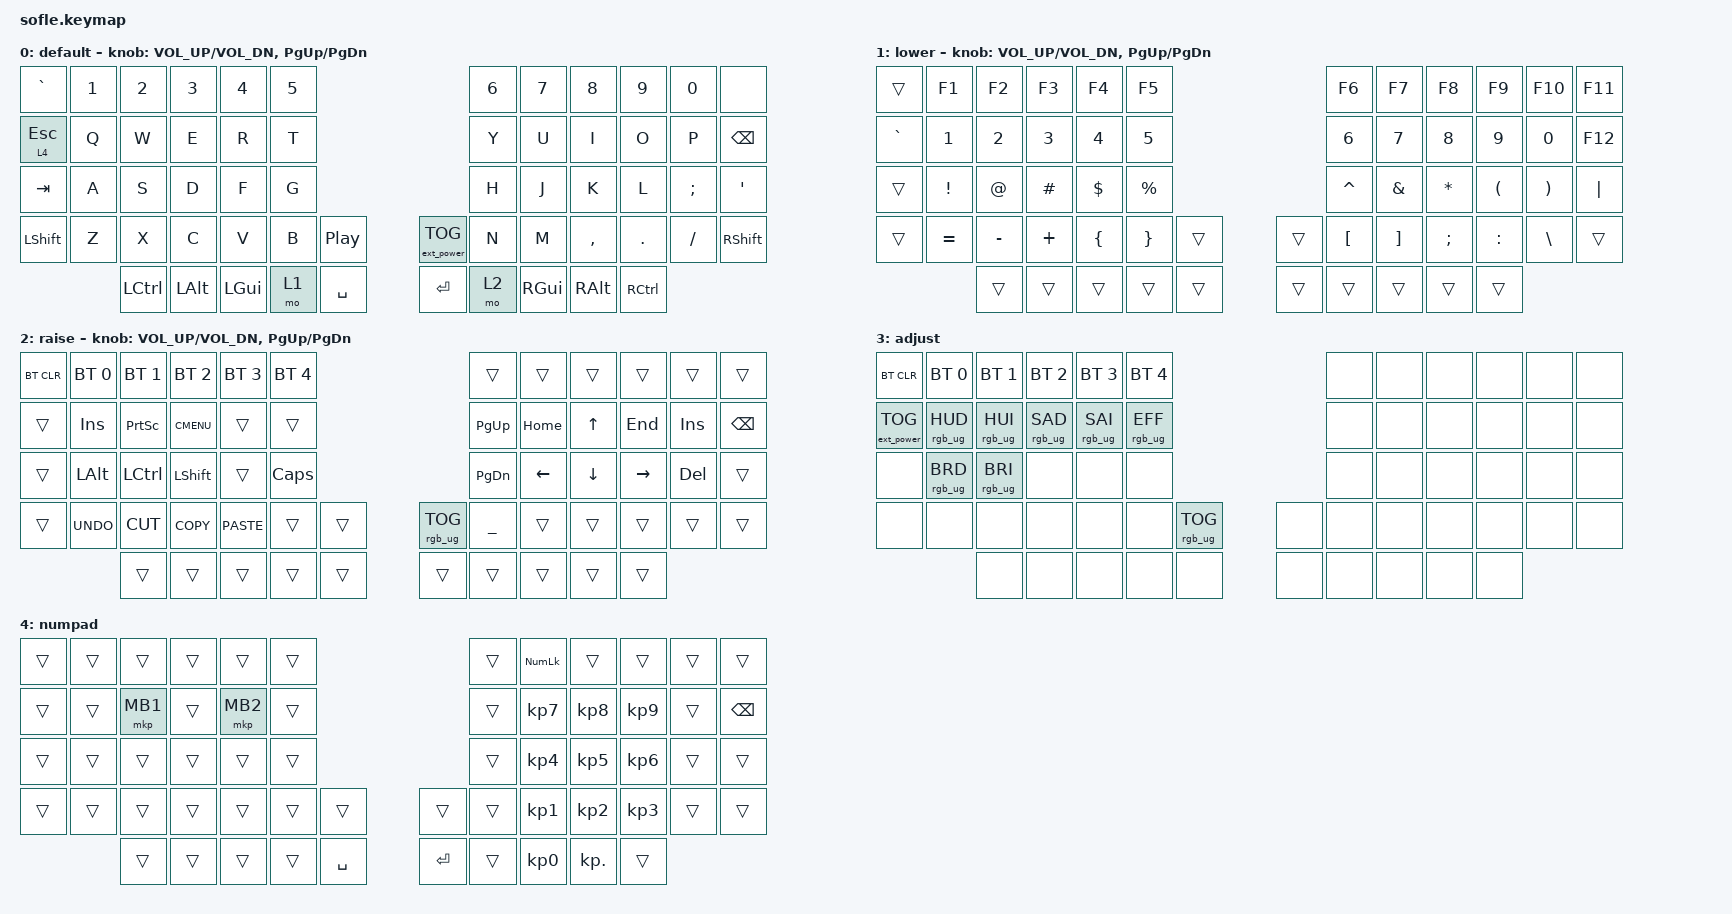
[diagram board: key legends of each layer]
/*
 * Copyright (c) 2020 The ZMK Contributors
 *
 * SPDX-License-Identifier: MIT
 */
/*
 * Temporarily here because nice nano v2 spi is not defined on ZMK Yet
 * Source: https://github.com/zmkfirmware/zmk/blob/main/app/boards/shields/reviung41/boards/nice_nano.overlay
 * GitHub Issue: https://github.com/zmkfirmware/zmk/issues/885
 */

#include <dt-bindings/led/led.h>
#include <behaviors.dtsi>
#include <dt-bindings/zmk/bt.h>
#include <dt-bindings/zmk/ext_power.h>
#include <dt-bindings/zmk/keys.h>
#include <dt-bindings/zmk/mouse.h>
#include <dt-bindings/zmk/rgb.h>

&pinctrl {
    spi3_default: spi3_default {
        group1 { psels = <NRF_PSEL(SPIM_MOSI, 0, 8)>; };
    };

    spi3_sleep: spi3_sleep {
        group1 {
            psels = <NRF_PSEL(SPIM_MOSI, 0, 8)>;
            low-power-enable;
        };
    };
};

&spi3 {
    compatible = "nordic,nrf-spim";
    status = "okay";
    pinctrl-0 = <&spi3_default>;
    pinctrl-1 = <&spi3_sleep>;
    pinctrl-names = "default", "sleep";

    led_strip: ws2812@0 {
        compatible = "worldsemi,ws2812-spi";
        label = "WS2812";

        /* SPI */

        reg = <0>; /* ignored, but necessary for SPI bindings */
        spi-max-frequency = <4000000>;

        /* WS2812 */

        chain-length = <30>;
        spi-one-frame = <0x70>;
        spi-zero-frame = <0x40>;
        color-mapping = <LED_COLOR_ID_GREEN LED_COLOR_ID_RED LED_COLOR_ID_BLUE>;
    };
};

/ {
    chosen { zmk,underglow = &led_strip; };
};

/* END temporary RGB support section */

#define BASE 0
#define LOWER 1
#define RAISE 2
#define ADJUST 3

/ {
    //ADJUST layer

    conditional_layers {
        compatible = "zmk,conditional-layers";

        adjust_layer {
            if-layers = <LOWER RAISE>;
            then-layer = <ADJUST>;
        };
    };

    behaviors {
        NumPad: NumPad {
            compatible = "zmk,behavior-hold-tap";
            label = "NUMPAD";
            bindings = <&mo>, <&kp>;

            #binding-cells = <2>;
            tapping-term-ms = <500>;
            hold-trigger-key-positions = <12>;
            flavor = "tap-preferred";
        };
    };

    keymap {
        compatible = "zmk,keymap";

        default_layer {
            display-name = "default";

            // ------------------------------------------------------------------------------------------------------------------
            // |  `    |  1  |  2  |  3   |  4   |  5   |                         |  6   |  7    |  8    |  9   |   0   |       |
            // |  ESC  |  Q  |  W  |  E   |  R   |  T   |                         |  Y   |  U    |  I    |  O   |   P   | BKSPC |
            // |  TAB  |  A  |  S  |  D   |  F   |  G   |                         |  H   |  J    |  K    |  L   |   ;   |   '   |
            // | SHIFT |  Z  |  X  |  C   |  V   |  B   |  MUTE  |        | ExtPw |  N   |  M    |  ,    |  .   |   /   | SHIFT |
            //               | GUI | ALT  | CTRL | LOWER|  SPACE |        | ENTER | RAISE| CTRL  | ALT   | GUI  |

            bindings = <
&kp GRAVE         &kp N1  &kp N2     &kp N3    &kp N4    &kp N5                                         &kp N6  &kp N7    &kp N8     &kp N9     &kp N0    &none
&NumPad 4 ESCAPE  &kp Q   &kp W      &kp E     &kp R     &kp T                                          &kp Y   &kp U     &kp I      &kp O      &kp P     &kp BSPC
&kp TAB           &kp A   &kp S      &kp D     &kp F     &kp G                                          &kp H   &kp J     &kp K      &kp L      &kp SEMI  &kp SQT
&kp LSHFT         &kp Z   &kp X      &kp C     &kp V     &kp B   &kp C_PLAY_PAUSE    &ext_power EP_TOG  &kp N   &kp M     &kp COMMA  &kp DOT    &kp FSLH  &kp RSHFT
                          &kp LCTRL  &kp LALT  &kp LGUI  &mo 1   &kp SPACE           &kp RET            &mo 2   &kp RGUI  &kp RALT   &kp RCTRL
            >;

            sensor-bindings = <&inc_dec_kp C_VOL_UP C_VOL_DN &inc_dec_kp PG_UP PG_DN>;
        };

        lower_layer {
            display-name = "lower";

            // TODO: Some binds are waiting for shifted keycode support.
            // ------------------------------------------------------------------------------------------------------------
            // |       |  F1 |  F2 |  F3  |  F4  |  F5  |                   |  F6  |  F7   |  F8   |  F9  |  F10  |  F11  |
            // | `     |   1 |   2 |   3  |   4  |   5  |                   |   6  |   7   |   8   |   9  |    0  |  F12  |
            // |       |  !  |  @  |  #   |  $   |  %   |                   |  ^   |  &    |  *    |  (   |   )   |   |   |
            // |       |  =  |  -  |  +   |  {   |  }   |        |  |       |  [   |  ]    |  ;    |  :   |   \   |       |
            //               |     |      |      |      |        |  |       |      |       |       |      |

            bindings = <
&trans     &kp F1     &kp F2     &kp F3    &kp F4    &kp F5                       &kp F6     &kp F7    &kp F8        &kp F9     &kp F10   &kp F11
&kp GRAVE  &kp N1     &kp N2     &kp N3    &kp N4    &kp N5                       &kp N6     &kp N7    &kp N8        &kp N9     &kp N0    &kp F12
&trans     &kp EXCL   &kp AT     &kp HASH  &kp DLLR  &kp PRCNT                    &kp CARET  &kp AMPS  &kp ASTERISK  &kp LPAR   &kp RPAR  &kp PIPE
&trans     &kp EQUAL  &kp MINUS  &kp PLUS  &kp LBRC  &kp RBRC   &trans    &trans  &kp LBKT   &kp RBKT  &kp SEMI      &kp COLON  &kp BSLH  &trans
                      &trans     &trans    &trans    &trans     &trans    &trans  &trans     &trans    &trans        &trans
            >;

            sensor-bindings = <&inc_dec_kp C_VOL_UP C_VOL_DN &inc_dec_kp PG_UP PG_DN>;
        };

        raise_layer {
            display-name = "raise";

            // ------------------------------------------------------------------------------------------------------------
            // |BTCLR| BT1  | BT2  |  BT3  |  BT4  |  BT5 |                 |      |      |       |      |       |       |
            // |     | INS  | PSCR | GUI   |       |      |                 | PGUP | HOME |   ^   | END  |  INS  | BKSPC |
            // |     | ALT  | CTRL | SHIFT |       | CAPS |                 | PGDN |   <- |   v   |  ->  |  DEL  |       |
            // |     | UNDO | CUT  | COPY  | PASTE |      |      |   | RGB  |   _  |      |       |      |       |       |
            //              |      |       |       |      |      |   |      |      |      |       |      |

            bindings = <
&bt BT_CLR  &bt BT_SEL 0  &bt BT_SEL 1  &bt BT_SEL 2  &bt BT_SEL 3  &bt BT_SEL 4                             &trans     &trans    &trans    &trans     &trans   &trans
&trans      &kp INS       &kp PSCRN     &kp K_CMENU   &trans        &trans                                   &kp PG_UP  &kp HOME  &kp UP    &kp END    &kp INS  &kp BSPC
&trans      &kp LALT      &kp LCTRL     &kp LSHFT     &trans        &kp CLCK                                 &kp PG_DN  &kp LEFT  &kp DOWN  &kp RIGHT  &kp DEL  &trans
&trans      &kp K_UNDO    &kp K_CUT     &kp K_COPY    &kp K_PASTE   &trans        &trans    &rgb_ug RGB_TOG  &kp UNDER  &trans    &trans    &trans     &trans   &trans
                          &trans        &trans        &trans        &trans        &trans    &trans           &trans     &trans    &trans    &trans
            >;

            sensor-bindings = <&inc_dec_kp C_VOL_UP C_VOL_DN &inc_dec_kp PG_UP PG_DN>;
        };

        adjust_layer {
            // ----------------------------------------------------------------------------------------------------------------------------
            // | BTCLR  |  BT1    |  BT2    |   BT3   |   BT4   |   BT5   |                  |      |      |       |      |       |       |
            // | EXTPWR | RGB_HUD | RGB_HUI | RGB_SAD | RGB_SAI | RGB_EFF |                  |      |      |       |      |       |       |
            // |        | RGB_BRD | RGB_BRI |         |         |         |                  |      |      |       |      |       |       |
            // |        |         |         |         |         |         | RGB_TOG | |      |      |      |       |      |       |       |
            //                    |         |         |         |         |         | |      |      |      |       |      |

            display-name = "adjust";
            bindings = <
&bt BT_CLR         &bt BT_SEL 0     &bt BT_SEL 1     &bt BT_SEL 2     &bt BT_SEL 3     &bt BT_SEL 4                               &none  &none  &none  &none  &none  &none
&ext_power EP_TOG  &rgb_ug RGB_HUD  &rgb_ug RGB_HUI  &rgb_ug RGB_SAD  &rgb_ug RGB_SAI  &rgb_ug RGB_EFF                            &none  &none  &none  &none  &none  &none
&none              &rgb_ug RGB_BRD  &rgb_ug RGB_BRI  &none            &none            &none                                      &none  &none  &none  &none  &none  &none
&none              &none            &none            &none            &none            &none            &rgb_ug RGB_TOG    &none  &none  &none  &none  &none  &none  &none
                                    &none            &none            &none            &none            &none              &none  &none  &none  &none  &none
            >;
        };

        NUMPAD_LAYER {
            // ----------------------------------------------------------------------------------------------------------------------------
            // |        |         |         |         |         |         |                    |      | NumLk |       |      |       |       |
            // |        |         | Mouse1  |         | Mouse2  |         |                    |      |   7   |   8   |   9  |       |BackSPC|
            // |        |         |         |         |         |         |                    |      |   4   |   5   |   6  |       |       |
            // |        |         |         |         |         |         |         |  |       |      |   1   |   2   |   3  |       |       |
            //                    |         |         |         |         | Space   |  | Enter |      |   0   |   .   |      |

            display-name = "numpad";
            bindings = <
&trans  &trans  &trans    &trans  &trans    &trans                          &trans  &kp KP_NUMLOCK  &trans      &trans     &trans  &trans
&trans  &trans  &mkp MB1  &trans  &mkp MB2  &trans                          &trans  &kp KP_N7       &kp KP_N8   &kp KP_N9  &trans  &kp BSPC
&trans  &trans  &trans    &trans  &trans    &trans                          &trans  &kp KP_N4       &kp KP_N5   &kp KP_N6  &trans  &trans
&trans  &trans  &trans    &trans  &trans    &trans  &trans       &trans     &trans  &kp KP_N1       &kp KP_N2   &kp KP_N3  &trans  &trans
                &trans    &trans  &trans    &trans  &kp SPACE    &kp ENTER  &trans  &kp KP_N0       &kp KP_DOT  &trans
            >;
        };
    };
};
